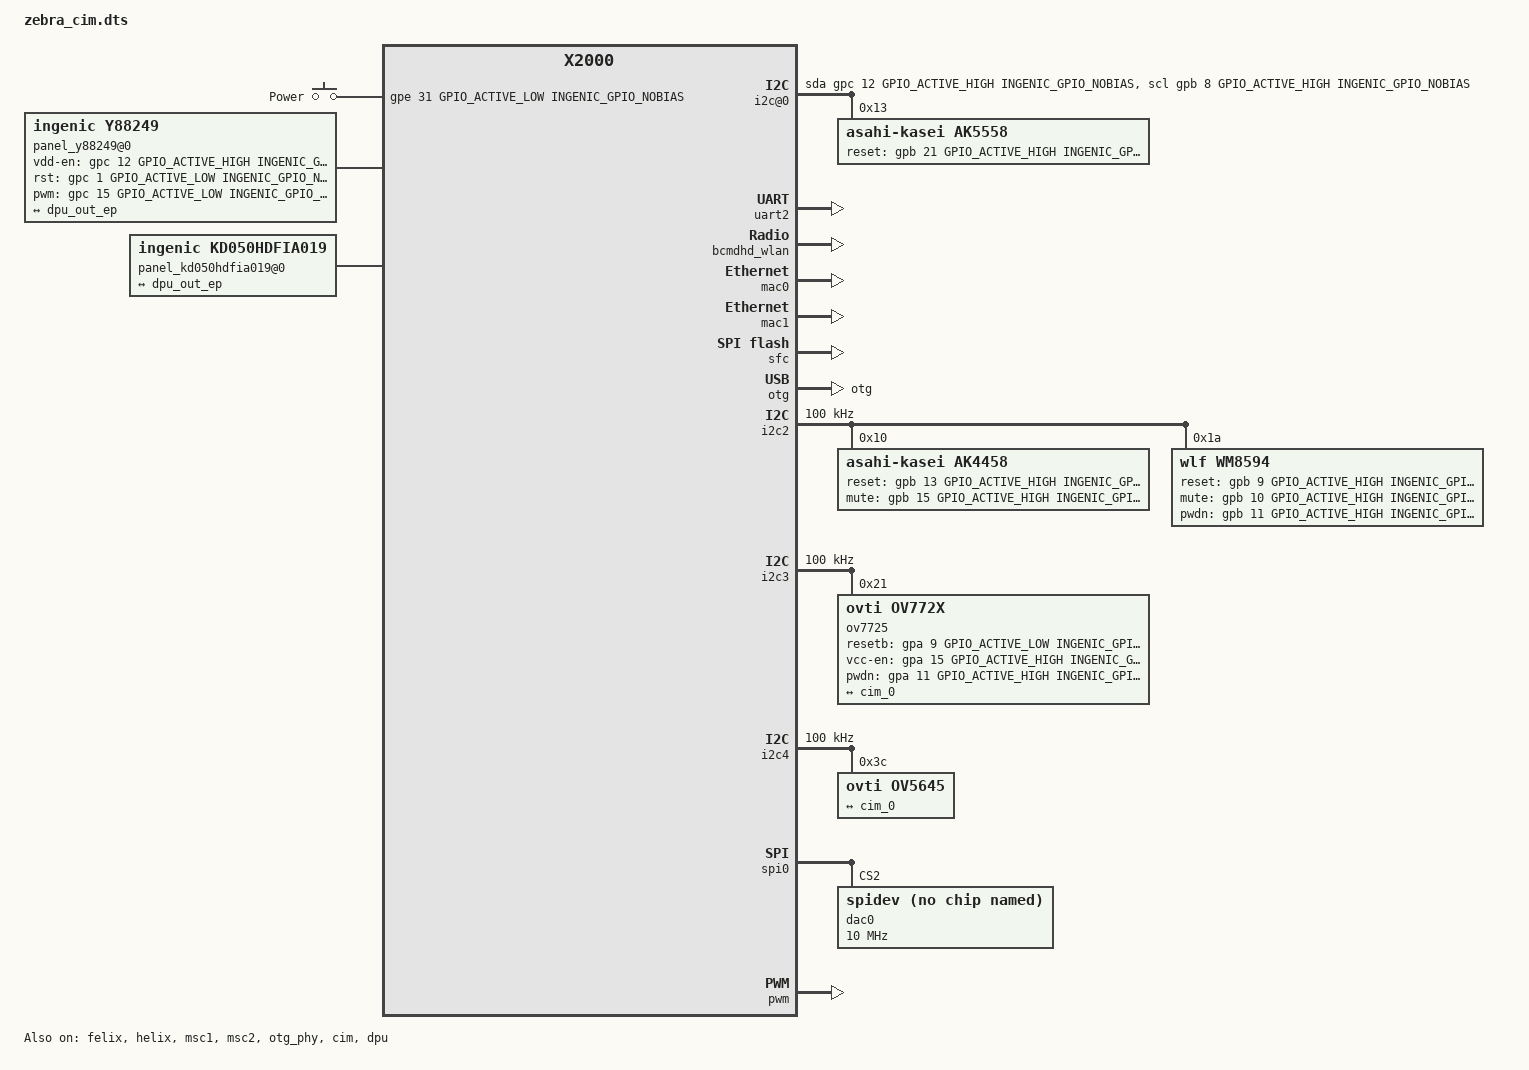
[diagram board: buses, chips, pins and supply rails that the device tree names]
/dts-v1/;

#include <dt-bindings/input/input.h>
#include "x2000-v12.dtsi"
#include <dt-bindings/interrupt-controller/irq.h>

/ {
	compatible = "img,zebra", "ingenic,x2000";
};

&uart0 {
	status = "disable";
	pinctrl-names = "default";
	pinctrl-0 = <&uart0_pd>;
};

&uart2 {
	status = "okay";
	pinctrl-names = "default";
	pinctrl-0 = <&uart2_pd>;
};

&pinctrl {
	ingenic,gpa_voltage = <GPIO_VOLTAGE_1V8>;
};

&felix {
	status = "okay";
};

&helix {
	status = "okay";
};

&pdma {
	status = "okay";
};

&msc0 {
	status = "disable";
	pinctrl-names ="default";
	pinctrl-0 = <&msc0_8bit>;
	/*mmc-hs200-1_8v;*/
	cap-mmc-highspeed;
	non-removable;
	max-frequency = <50000000>;
	bus-width = <4>;
	non-removable;
	voltage-ranges = <1800 3300>;

	/* special property */
	ingenic,wp-gpios = <0>;
	ingneic,cd-gpios = <0>;
	ingenic,rst-gpios = <0>;
};

&msc1 {
	status = "okay";
	pinctrl-names ="default","enable", "disable";
	pinctrl-0 = <&msc1_4bit>;
	pinctrl-1 = <&rtc32k_enable>;
	pinctrl-2 = <&rtc32k_disable>;

	max-frequency = <50000000>;
	bus-width = <4>;
	voltage-ranges = <1800 3300>;
	/*non-removable;*/

	ingenic,sdio_clk = <1>;
	keep-power-in-suspend;

	/* special property */
	ingenic,wp-gpios = <0>;
	ingneic,cd-gpios = <0>;
	ingenic,rst-gpios = <0>;
	ingenic,removal-manual; /*removal-dontcare, removal-nonremovable, removal-removable, removal-manual*/

	bcmdhd_wlan: bcmdhd_wlan {
		 compatible = "android,bcmdhd_wlan";
		 ingenic,sdio-irq = <&gpd 20 IRQ_TYPE_LEVEL_HIGH INGENIC_GPIO_NOBIAS>;
		 ingenic,sdio-reset = <&gpd 19 GPIO_ACTIVE_LOW INGENIC_GPIO_NOBIAS>;
	};
};

&msc2 {
	status = "okay";
	pinctrl-names ="default";
	pinctrl-0 = <&msc2_4bit>;
	/*mmc-hs200-1_8v;*/
	cap-mmc-highspeed;
	non-removable;
	max-frequency = <50000000>;
	bus-width = <4>;
	non-removable;
	voltage-ranges = <1800 3300>;

	/* special property */
	ingenic,wp-gpios = <0>;
	ingneic,cd-gpios = <0>;
	ingenic,rst-gpios = <0>;
};

&mac0 {
	pinctrl-names = "default", "reset";
	pinctrl-0 = <&mac0_rgmii_p0_normal>, <&mac0_rgmii_p1_normal>;
	pinctrl-1 = <&mac0_rgmii_p0_rst>, <&mac0_rgmii_p1_normal>;
	status = "okay";
	ingenic,rst-gpio = <&gpb 0 GPIO_ACTIVE_LOW INGENIC_GPIO_NOBIAS>;
	ingenic,rst-ms = <10>;
	ingenic,mac-mode = <RGMII>;
	ingenic,mode-reg = <0xb00000e4>;
};

&mac1 {
	pinctrl-names = "default", "reset";
	pinctrl-0 = <&mac1_rgmii_p0_normal>, <&mac1_rgmii_p1_normal>;
	pinctrl-1 = <&mac1_rgmii_p0_rst>, <&mac1_rgmii_p1_normal>;
	status = "okay";
	ingenic,rst-gpio = <&gpb 26 GPIO_ACTIVE_LOW INGENIC_GPIO_NOBIAS>;
	ingenic,rst-ms = <10>;
	ingenic,mac-mode = <RGMII>;
	ingenic,mode-reg = <0xb00000e8>;
};

&sfc {
	status = "okay";
	pinctrl-names = "default";
	pinctrl-0 = <&sfc_pe>;
	ingenic,sfc-max-frequency = <320000000>;
	ingenic,use_board_info      = /bits/ 8 <0>;
	ingenic,spiflash_param_offset = <0>;


};

&otg {
	g-use-dma;
	dr_mode = "otg"; // host,peripheral,otg
	status = "okay";
};

&otg_phy {
	compatible = "ingenic,innophy", "syscon";
	reg = <0x10000000 0x100>;
	ingenic,drvvbus-gpio = <&gpe 22 GPIO_ACTIVE_HIGH INGENIC_GPIO_NOBIAS>;
	status = "okay";
};


&as_be_baic {
	pinctrl-names = "default";
	pinctrl-0 = <&baic1_tmclk_pc>, <&baic1_rmclk_pc>, <&baic1_pc>, <&baic2_mclk_pa>, <&baic2_pa>,
		<&baic3_mclk_pa>, <&baic3_pa>, <&baic4_pd>;
};

&as_spdif {
	pinctrl-names = "default";
	pinctrl-0 = <&spdif_pc>;
};

&as_dmic {
	pinctrl-names = "default";
	pinctrl-0 = <&dmic_pc>;
};

&i2c2 {
	status = "okay";
	clock-frequency = <100000>;
	timeout = <1000>;
	pinctrl-names = "default";
	pinctrl-0 = <&i2c2_pb>;

	ak4458: dac@0x10 {
		compatible = "asahi-kasei,ak4458";
		status = "okay";
		reg = <0x10>;
		reset-gpios = <&gpb 13 GPIO_ACTIVE_HIGH INGENIC_GPIO_NOBIAS>;
		mute-gpios = <&gpb 15 GPIO_ACTIVE_HIGH INGENIC_GPIO_NOBIAS>;
	};
	wm8594: adc@0x1a {
		compatible = "wlf,wm8594";
		status = "okay";
		reg = <0x1a>;
		reset-gpios = <&gpb 9 GPIO_ACTIVE_HIGH INGENIC_GPIO_NOBIAS>;
		mute-gpios = <&gpb 10 GPIO_ACTIVE_HIGH INGENIC_GPIO_NOBIAS>;
		pwdn-gpios = <&gpb 11 GPIO_ACTIVE_HIGH INGENIC_GPIO_NOBIAS>;
	};
};

&i2c3 {
	status = "okay";
	clock-frequency = <100000>;
	timeout = <1000>;
	pinctrl-names = "default";
	pinctrl-0 = <&i2c3_pa>;

	ov7725: dac@0x21 {
		compatible = "ovti,ov772x";
		status = "okay";
		reg = <0x21>;
		pinctrl-names = "default","cim";
		pinctrl-0 = <&cim_vic_mclk_pe>, <&cim_pa>;

		resetb-gpios = <&gpa 9 GPIO_ACTIVE_LOW INGENIC_GPIO_NOBIAS>;
		vcc-en-gpios = <&gpa 15 GPIO_ACTIVE_HIGH INGENIC_GPIO_NOBIAS>;
		pwdn-gpios = <&gpa 11 GPIO_ACTIVE_HIGH INGENIC_GPIO_NOBIAS>;

		port {
			ov7725_0: endpoint {
				remote-endpoint = <&cim_0>;
			};
		};
	};
};


&i2c4 {
	status = "okay";
	clock-frequency = <100000>;
	timeout = <1000>;
	pinctrl-names = "default";
	pinctrl-0 = <&i2c4_pd>;

	ov5645: ov5645@0x3c {
		status = "okay";
		compatible = "ovti,ov5645";
		reg = <0x3c>;
		pinctrl-names = "default","cim";
		pinctrl-0 = <&cim_vic_mclk_pe>, <&cim_pa>;
		/*
		resetb-gpios 	= <&gpd 5 GPIO_ACTIVE_LOW INGENIC_GPIO_NOBIAS>;
		pwdn-gpios 	= <&gpd 4 GPIO_ACTIVE_HIGH INGENIC_GPIO_NOBIAS>;
		vcc-en-gpios	= <&gpd 3 GPIO_ACTIVE_HIGH INGENIC_GPIO_NOBIAS>;
		*/
		port {
			ov5645_0: endpoint {
				remote-endpoint = <&cim_0>;
			};
		};
	};
};

&cim {
	status = "okay";
	port {
		cim_0: endpoint@0 {
		/*	remote-endpoint = <&ov7725_0>;*/
			remote-endpoint = <&ov5645_0>;
			bus-width = <8>;
		};
	};
};

&dpu {
	status = "okay";
	port {
		dpu_out_ep: endpoint {
			remote-endpoint = <&panel_y88249_ep>;
			/*remote-endpoint = <&panel_kd050hdfia019_ep>;*/
		};
	};
};

&spi0 {
	/*status = "disabled";*/
	status = "okay";
	pinctrl-names = "default";
	pinctrl-0 = <&spi0_pb>;

	spi-max-frequency = <54000000>;
	num-cs = <2>;
	cs-gpios = <0>, <0>;
	/*cs-gpios = <&gpa 27 GPIO_ACTIVE_HIGH INGENIC_GPIO_NOBIAS>, <&gpa 27 GPIO_ACTIVE_HIGH INGENIC_GPIO_NOBIAS>;*/
	ingenic,chnl = <0>;
	ingenic,allow_cs_same = <1>;
	ingenic,bus_num = <0>;
	ingenic,has_dma_support = <0>;
	ingenic,spi-src-clk = <1>;/*0.ext; 1.ssi*/

	dac0: dac8881@0 {
		compatible = "spidev";
		reg = <2>;
		chip_select= <0>;
		spi-max-frequency = <10000000>;
	};
};

&pwm {
	status = "okay";
	pinctrl-names = "default","pwm15_pc";
	pinctrl-0 = <&pwm0_pc> ,<&pwm15_pc>; 
};

/ {

	extclk: extclk {
		clock-frequency = <24000000>;
	};

	gpio_keys: gpio_keys {
		   compatible = "gpio-keys";

		   power {
			   label = "Power";
			   linux,code = <KEY_POWER>;
			   gpios = <&gpe 31 GPIO_ACTIVE_LOW INGENIC_GPIO_NOBIAS>;
			   gpio-key,wakeup;
		   };
	   };
	sound {
		compatible = "ingenic,x2000-sound";
		ingenic,model = "zebra";
	};

	i2c@0 {
		compatible = "i2c-gpio";
		gpios = <&gpc 12 GPIO_ACTIVE_HIGH INGENIC_GPIO_NOBIAS /* sda */>,
			<&gpb 8 GPIO_ACTIVE_HIGH INGENIC_GPIO_NOBIAS /* scl */>;
		//i2c-gpio,sda-open-drain;
		//i2c-gpio,scl-open-drain;
		i2c-gpio,scl-output-only;
		i2c-gpio,delay-us = <2>; /* ~100 kHz */
		#address-cells = <1>;
		#size-cells = <0>;

		ak5558: adc@0x13 {
			compatible = "asahi-kasei,ak5558";
			status = "okay";
			reg = <0x13>;
			reset-gpios = <&gpb 21 GPIO_ACTIVE_HIGH INGENIC_GPIO_NOBIAS>;
		};
	};

	display-dbi {
		compatible = "simple-bus";
		#interrupt-cells = <1>;
		#address-cells = <1>;
		#size-cells = <1>;
		ranges = <>;
		panel_y88249@0 {
			compatible = "ingenic,y88249";
			status = "okay";
			pinctrl-names = "default";
			pinctrl-0 = <&tft_lcd_pb_rgb888>;
			ingenic,vdd-en-gpio = <&gpc 12 GPIO_ACTIVE_HIGH INGENIC_GPIO_NOBIAS>;
			ingenic,rst-gpio = <&gpc 1 GPIO_ACTIVE_LOW INGENIC_GPIO_NOBIAS>;
			ingenic,pwm-gpio = <&gpc 15 GPIO_ACTIVE_LOW INGENIC_GPIO_NOBIAS>;
			port {
				panel_y88249_ep: endpoint {
					remote-endpoint = <&dpu_out_ep>;
				};
			};
		};
		panel_kd050hdfia019@0 {
			compatible = "ingenic,kd050hdfia019";
			status = "okay";
			pinctrl-names = "default";
			port {
				panel_kd050hdfia019_ep: endpoint {
					remote-endpoint = <&dpu_out_ep>;
				};
			};
		};
	};
};
